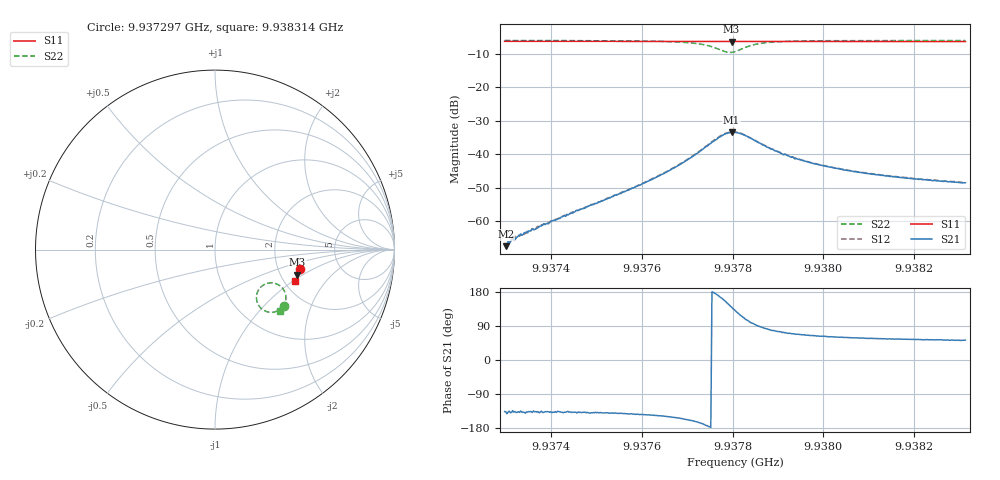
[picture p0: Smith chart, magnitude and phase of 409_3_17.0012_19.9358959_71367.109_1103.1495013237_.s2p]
#  HZ  S  RI  R  50.00
! Rohde & Schwarz Vector Network Analyzer
! Rohde-Schwarz,ZNB20-2Port,1311601062101988,3.16
! Created: UTC 3/20/2024, 11:10:23 PM
! freq[Hz]  re:S11  im:S11  re:S21  im:S21  re:S12  im:S12  re:S22  im:S22
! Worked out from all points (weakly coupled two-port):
!   401 points, 9.937297 GHz to 9.938314 GHz, reference 50 ohm
!   highest |S21| = -33.44 dB at 9.937798 GHz (marker M1); lowest = -67.4 dB at 9.9373 GHz (marker M2)
!   lowest |S11| = -6.4 dB at 9.937798 GHz (marker M3), VSWR 2.84, Z = 123 - j44.6 ohm
!   |S11| at or under -10 dB: nowhere
!   |S22| runs from -9.6 to -6.1 dB; largest |S21 - S12| = 0.00087
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9.9372973e9  0.4713 -0.1082  -0.00033 -0.00032  -0.000342 -0.000301  0.3843 -0.3165
9.9372998e9  0.4712 -0.1084  -0.00031 -0.000294  -0.000359 -0.00028  0.3841 -0.3168
9.9373049e9  0.4712 -0.1089  -0.000368 -0.000336  -0.000386 -0.00033  0.3837 -0.317
9.93731e9  0.471 -0.109  -0.000371 -0.000323  -0.000369 -0.000346  0.3835 -0.3175
9.9373227e9  0.4707 -0.11  -0.000424 -0.000374  -0.000416 -0.000381  0.3824 -0.3181
9.9373354e9  0.4705 -0.1107  -0.000463 -0.000419  -0.00045 -0.000428  0.3814 -0.3191
9.9373837e9  0.4695 -0.1141  -0.000682 -0.000609  -0.000679 -0.000626  0.3774 -0.3228
9.9374675e9  0.4678 -0.1197  -0.00115 -0.00101  -0.0012 -0.00104  0.3691 -0.3295
9.9375666e9  0.4655 -0.1264  -0.00226 -0.00177  -0.00232 -0.00177  0.3546 -0.3388
9.9376378e9  0.4638 -0.1311  -0.00402 -0.00259  -0.00411 -0.00257  0.3363 -0.3464
9.9376911e9  0.4622 -0.1348  -0.00684 -0.00313  -0.007 -0.00311  0.3105 -0.3495
9.9377394e9  0.4603 -0.1378  -0.0125 -0.00186  -0.0128 -0.00173  0.2657 -0.3343
9.937775e9  0.4587 -0.1395  -0.0179 0.00503  -0.0182 0.00567  0.231 -0.271
9.9377979e9  0.4581 -0.1398  -0.0162 0.0137  -0.016 0.0145  0.2578 -0.2064
9.9378055e9  0.4582 -0.14  -0.0139 0.016  -0.0136 0.0168  0.279 -0.1926
9.9378258e9  0.4584 -0.1409  -0.0069 0.0181  -0.00625 0.0186  0.337 -0.189
9.9378614e9  0.4585 -0.1434  0.000592 0.0145  0.000949 0.0147  0.3861 -0.2303
9.9379097e9  0.4578 -0.1471  0.00306 0.00969  0.0032 0.00981  0.3953 -0.2722
9.9379758e9  0.4562 -0.1517  0.00317 0.00668  0.00334 0.00668  0.3892 -0.3001
9.938052e9  0.4543 -0.1568  0.00293 0.00496  0.00309 0.00497  0.381 -0.3161
9.938146e9  0.4517 -0.1628  0.00263 0.00389  0.00276 0.00391  0.3725 -0.3287
9.9383137e9  0.4471 -0.1737  0.00229 0.00298  0.00241 0.00295  0.36 -0.343
